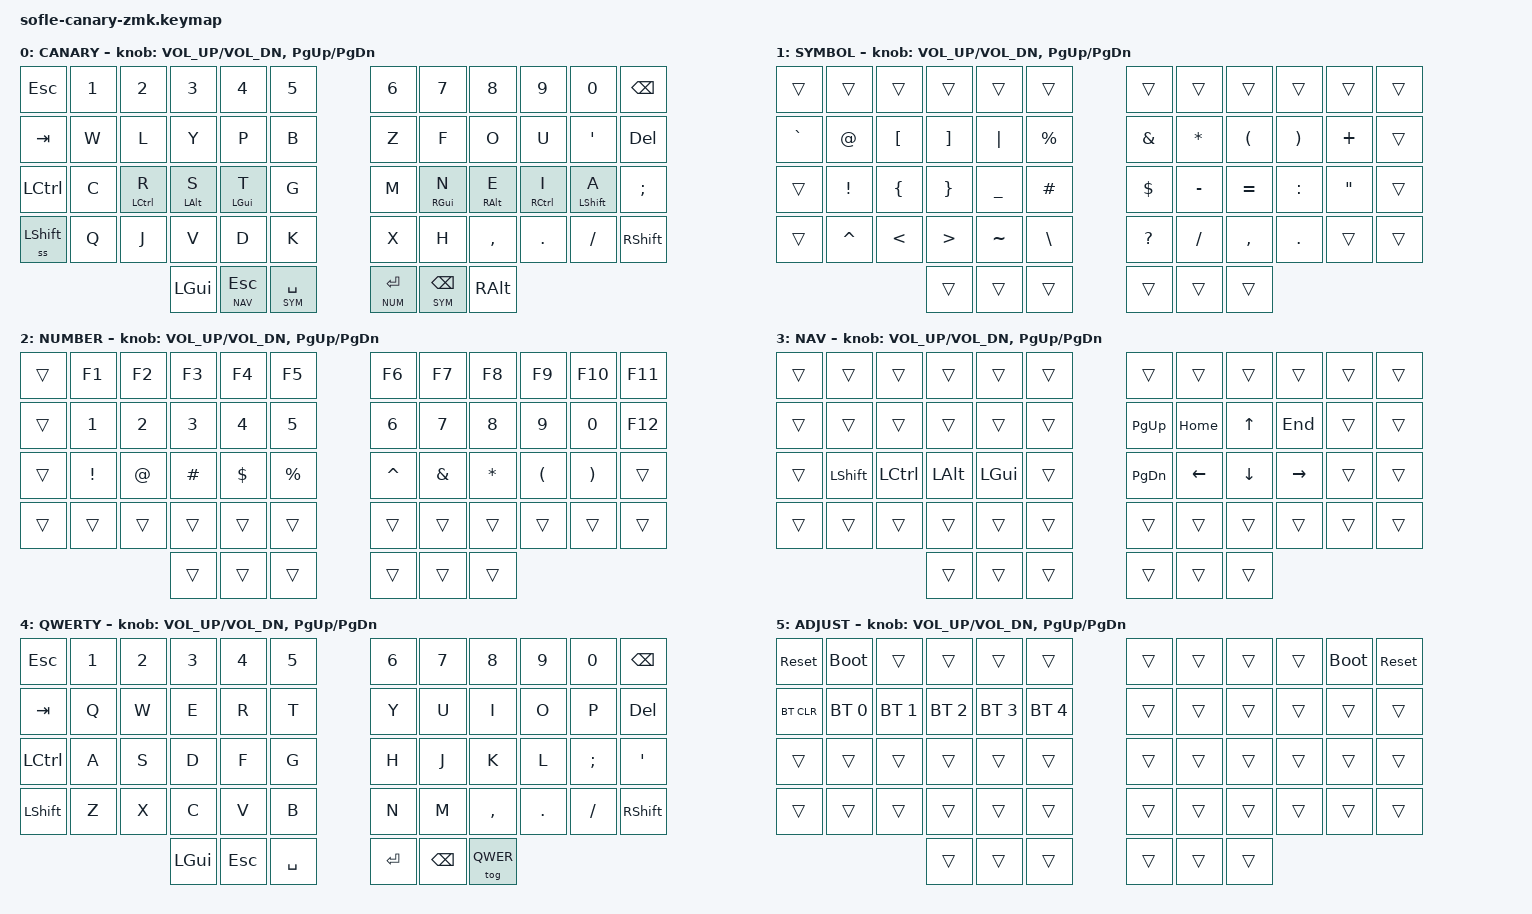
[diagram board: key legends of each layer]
/*
 * Canary Layout for Sofle Keyboard with ZMK
 * 
 * Features:
 * - Canary base layout with home row mods
 * - Dedicated programming symbol layer
 * - QWERTY layer for Chinese pinyin input
 * - German umlaut combos
 * - Advanced "timeless" home row mod configuration
 */

#include <input/processors.dtsi>
#include <behaviors.dtsi>
#include <dt-bindings/zmk/keys.h>
#include <dt-bindings/zmk/bt.h>
#include <dt-bindings/zmk/ext_power.h>
#include <dt-bindings/zmk/outputs.h>
#include <dt-bindings/zmk/pointing.h>
#include <dt-bindings/zmk/rgb.h>
#include <zephyr/dt-bindings/input/input-event-codes.h>

// Layer definitions
#define BASE 0
#define SYM  1
#define NUM  2
#define NAV  3
#define QWER 4
#define ADJ  5

// Home row mod definitions
#define HRM_A &hml LSHFT A
#define HRM_R &hml LCTRL R
#define HRM_S &hml LALT S
#define HRM_T &hml LGUI T
#define HRM_N &hmr RGUI N
#define HRM_E &hmr RALT E
#define HRM_I &hmr RCTRL I
#define HRM_O &hmr RSHFT O

/ {
    zip_xy_scaler: zip_xy_scaler {
    compatible = "zmk,input-processor-scaler";
    #input-processor-cells = <2>;
    type = <INPUT_EV_REL>;
    codes = <INPUT_REL_X INPUT_REL_Y>;
    track-remainders;
};
    behaviors {
        // Timeless home row mods - left hand
        hml: home_row_mod_left {
            compatible = "zmk,behavior-hold-tap";
            #binding-cells = <2>;
            bindings = <&kp>, <&kp>;
            flavor = "balanced";
            tapping-term-ms = <280>;
            quick-tap-ms = <175>;
            require-prior-idle-ms = <150>;
            hold-trigger-key-positions = <6 7 8 9 10 11 18 19 20 21 22 23 30 31 32 33 34 35 39 40 41 42 43 44 45 46 47 48 49 50 51 52 53 54 55 56 57>;
            hold-trigger-on-release;
        };
        
        // Timeless home row mods - right hand
        hmr: home_row_mod_right {
            compatible = "zmk,behavior-hold-tap";
            #binding-cells = <2>;
            bindings = <&kp>, <&kp>;
            flavor = "balanced";
            tapping-term-ms = <280>;
            quick-tap-ms = <175>;
            require-prior-idle-ms = <150>;
            hold-trigger-key-positions = <0 1 2 3 4 5 12 13 14 15 16 17 24 25 26 27 28 29 36 37 38 39 40 41 42 43 44 45 46 47 48 49 50 51 52 53 54 55 56 57>;
            hold-trigger-on-release;
        };
        
        // Layer tap for thumb keys
        lt: layer_tap {
            compatible = "zmk,behavior-hold-tap";
            #binding-cells = <2>;
            bindings = <&mo>, <&kp>;
            tapping-term-ms = <200>;
            quick-tap-ms = <150>;
            flavor = "tap-preferred";
        };
        
        // Sticky shift for capitalization
        ss: sticky_shift {
            compatible = "zmk,behavior-sticky-key";
            #binding-cells = <1>;
            bindings = <&kp>;
            release-after-ms = <1000>;
            quick-release;
        };
    };
    
    // German umlaut combos
    combos {
        compatible = "zmk,combos";
        
        combo_ae {
            timeout-ms = <50>;
            key-positions = <13 19>; // A + E
            bindings = <&de_ae>;
        };
        
        combo_oe {
            timeout-ms = <50>;
            key-positions = <22 19>; // O + E
            bindings = <&de_oe>;
        };
        
        combo_ue {
            timeout-ms = <50>;
            key-positions = <9 19>; // U + E
            bindings = <&de_ue>;
        };
        
        combo_ss {
            timeout-ms = <50>;
            key-positions = <15 27>; // S + Z
            bindings = <&de_ss>;
        };
        
        // Quick QWERTY toggle for Chinese
        combo_qwerty {
            timeout-ms = <100>;
            key-positions = <52 53>; // Both inner thumb keys
            bindings = <&tog QWER>;
        };
    };
    
    // Macros for German characters
    macros {
        de_ae: de_ae {
            compatible = "zmk,behavior-macro";
            #binding-cells = <0>;
            bindings = <&kp RALT>, <&kp A>;
        };
        
        de_oe: de_oe {
            compatible = "zmk,behavior-macro";
            #binding-cells = <0>;
            bindings = <&kp RALT>, <&kp O>;
        };
        
        de_ue: de_ue {
            compatible = "zmk,behavior-macro";
            #binding-cells = <0>;
            bindings = <&kp RALT>, <&kp U>;
        };
        
        de_ss: de_ss {
            compatible = "zmk,behavior-macro";
            #binding-cells = <0>;
            bindings = <&kp RALT>, <&kp S>;
        };
    };

    keymap {
        compatible = "zmk,keymap";
        
        // Base layer - Canary layout with home row mods
        base_layer {
            label = "CANARY";
            bindings = <
// ╭────────┬────────┬────────┬────────┬────────┬────────╮   ╭────────┬────────┬────────┬────────┬────────┬────────╮
    &kp ESC  &kp N1   &kp N2   &kp N3   &kp N4   &kp N5       &kp N6   &kp N7   &kp N8   &kp N9   &kp N0   &kp BSPC
// ├────────┼────────┼────────┼────────┼────────┼────────┤   ├────────┼────────┼────────┼────────┼────────┼────────┤
    &kp TAB  &kp W    &kp L    &kp Y    &kp P    &kp B        &kp Z    &kp F    &kp O    &kp U    &kp SQT  &kp DEL
// ├────────┼────────┼────────┼────────┼────────┼────────┤   ├────────┼────────┼────────┼────────┼────────┼────────┤
    &kp LCTRL &kp C   HRM_R    HRM_S    HRM_T    &kp G        &kp M    HRM_N    HRM_E    HRM_I    HRM_A    &kp SEMI
// ├────────┼────────┼────────┼────────┼────────┼────────┤   ├────────┼────────┼────────┼────────┼────────┼────────┤
    &ss LSHFT &kp Q   &kp J    &kp V    &kp D    &kp K        &kp X    &kp H    &kp COMMA &kp DOT &kp FSLH &kp RSHFT
// ╰────────┴────────┴────────┼────────┼────────┼────────┤   ├────────┼────────┼────────┼────────┴────────┴────────╯
                      &kp LGUI &lt NAV ESC &lt SYM SPACE      &lt NUM ENTER &lt SYM BSPC &kp RALT
//                            ╰────────┴────────┴────────╯   ╰────────┴────────┴────────╯
            >;
            
            sensor-bindings = <&inc_dec_kp C_VOL_UP C_VOL_DN &inc_dec_kp PG_UP PG_DN>;
        };
        
        // Symbol layer - optimized for Java programming
        symbol_layer {
            label = "SYMBOL";
            bindings = <
// ╭────────┬────────┬────────┬────────┬────────┬────────╮   ╭────────┬────────┬────────┬────────┬────────┬────────╮
    &trans   &trans   &trans   &trans   &trans   &trans       &trans   &trans   &trans   &trans   &trans   &trans
// ├────────┼────────┼────────┼────────┼────────┼────────┤   ├────────┼────────┼────────┼────────┼────────┼────────┤
    &kp GRAVE &kp AT  &kp LBKT &kp RBKT &kp PIPE &kp PRCNT    &kp AMPS &kp STAR &kp LPAR &kp RPAR &kp PLUS &trans
// ├────────┼────────┼────────┼────────┼────────┼────────┤   ├────────┼────────┼────────┼────────┼────────┼────────┤
    &trans   &kp EXCL &kp LBRC &kp RBRC &kp UNDER &kp HASH    &kp DLLR &kp MINUS &kp EQUAL &kp COLON &kp DQT &trans
// ├────────┼────────┼────────┼────────┼────────┼────────┤   ├────────┼────────┼────────┼────────┼────────┼────────┤
    &trans   &kp CARET &kp LT  &kp GT   &kp TILDE &kp BSLH    &kp QMARK &kp FSLH &kp COMMA &kp DOT  &trans  &trans
// ╰────────┴────────┴────────┼────────┼────────┼────────┤   ├────────┼────────┼────────┼────────┴────────┴────────╯
                      &trans   &trans   &trans               &trans   &trans   &trans
//                            ╰────────┴────────┴────────╯   ╰────────┴────────┴────────╯
            >;
            sensor-bindings = <&inc_dec_kp C_VOL_UP C_VOL_DN &inc_dec_kp PG_UP PG_DN>;
        };
        
        // Number/Function layer
        number_layer {
            label = "NUMBER";
            bindings = <
// ╭────────┬────────┬────────┬────────┬────────┬────────╮   ╭────────┬────────┬────────┬────────┬────────┬────────╮
    &trans   &kp F1   &kp F2   &kp F3   &kp F4   &kp F5       &kp F6   &kp F7   &kp F8   &kp F9   &kp F10  &kp F11
// ├────────┼────────┼────────┼────────┼────────┼────────┤   ├────────┼────────┼────────┼────────┼────────┼────────┤
    &trans   &kp N1   &kp N2   &kp N3   &kp N4   &kp N5       &kp N6   &kp N7   &kp N8   &kp N9   &kp N0   &kp F12
// ├────────┼────────┼────────┼────────┼────────┼────────┤   ├────────┼────────┼────────┼────────┼────────┼────────┤
    &trans   &kp EXCL &kp AT   &kp HASH &kp DLLR &kp PRCNT    &kp CARET &kp AMPS &kp STAR &kp LPAR &kp RPAR &trans
// ├────────┼────────┼────────┼────────┼────────┼────────┤   ├────────┼────────┼────────┼────────┼────────┼────────┤
    &trans   &trans   &trans   &trans   &trans   &trans       &trans   &trans   &trans   &trans   &trans   &trans
// ╰────────┴────────┴────────┼────────┼────────┼────────┤   ├────────┼────────┼────────┼────────┴────────┴────────╯
                      &trans   &trans   &trans               &trans   &trans   &trans
//                            ╰────────┴────────┴────────╯   ╰────────┴────────┴────────╯
            >;
            sensor-bindings = <&inc_dec_kp C_VOL_UP C_VOL_DN &inc_dec_kp PG_UP PG_DN>;
        };
        
        // Navigation layer
        navigation_layer {
            label = "NAV";
            bindings = <
// ╭────────┬────────┬────────┬────────┬────────┬────────╮   ╭────────┬────────┬────────┬────────┬────────┬────────╮
    &trans   &trans   &trans   &trans   &trans   &trans       &trans   &trans   &trans   &trans   &trans   &trans
// ├────────┼────────┼────────┼────────┼────────┼────────┤   ├────────┼────────┼────────┼────────┼────────┼────────┤
    &trans   &trans   &trans   &trans   &trans   &trans       &kp PG_UP &kp HOME &kp UP   &kp END  &trans   &trans
// ├────────┼────────┼────────┼────────┼────────┼────────┤   ├────────┼────────┼────────┼────────┼────────┼────────┤
    &trans   &kp LSHFT &kp LCTRL &kp LALT &kp LGUI &trans     &kp PG_DN &kp LEFT &kp DOWN &kp RIGHT &trans  &trans
// ├────────┼────────┼────────┼────────┼────────┼────────┤   ├────────┼────────┼────────┼────────┼────────┼────────┤
    &trans   &trans   &trans   &trans   &trans   &trans       &trans   &trans   &trans   &trans   &trans   &trans
// ╰────────┴────────┴────────┼────────┼────────┼────────┤   ├────────┼────────┼────────┼────────┴────────┴────────╯
                      &trans   &trans   &trans               &trans   &trans   &trans
//                            ╰────────┴────────┴────────╯   ╰────────┴────────┴────────╯
            >;
            sensor-bindings = <&inc_dec_kp C_VOL_UP C_VOL_DN &inc_dec_kp PG_UP PG_DN>;
        };
        
        // QWERTY layer for Chinese pinyin input
        qwerty_layer {
            label = "QWERTY";
            bindings = <
// ╭────────┬────────┬────────┬────────┬────────┬────────╮   ╭────────┬────────┬────────┬────────┬────────┬────────╮
    &kp ESC  &kp N1   &kp N2   &kp N3   &kp N4   &kp N5       &kp N6   &kp N7   &kp N8   &kp N9   &kp N0   &kp BSPC
// ├────────┼────────┼────────┼────────┼────────┼────────┤   ├────────┼────────┼────────┼────────┼────────┼────────┤
    &kp TAB  &kp Q    &kp W    &kp E    &kp R    &kp T        &kp Y    &kp U    &kp I    &kp O    &kp P    &kp DEL
// ├────────┼────────┼────────┼────────┼────────┼────────┤   ├────────┼────────┼────────┼────────┼────────┼────────┤
    &kp LCTRL &kp A   &kp S    &kp D    &kp F    &kp G        &kp H    &kp J    &kp K    &kp L    &kp SEMI &kp SQT
// ├────────┼────────┼────────┼────────┼────────┼────────┤   ├────────┼────────┼────────┼────────┼────────┼────────┤
    &kp LSHFT &kp Z   &kp X    &kp C    &kp V    &kp B        &kp N    &kp M    &kp COMMA &kp DOT &kp FSLH &kp RSHFT
// ╰────────┴────────┴────────┼────────┼────────┼────────┤   ├────────┼────────┼────────┼────────┴────────┴────────╯
                      &kp LGUI &kp ESC  &kp SPACE            &kp ENTER &kp BSPC &tog QWER
//                            ╰────────┴────────┴────────╯   ╰────────┴────────┴────────╯
            >;
            sensor-bindings = <&inc_dec_kp C_VOL_UP C_VOL_DN &inc_dec_kp PG_UP PG_DN>;
        };
        
        // Adjust layer for keyboard settings
        adjust_layer {
            label = "ADJUST";
            bindings = <
// ╭────────┬────────┬────────┬────────┬────────┬────────╮   ╭────────┬────────┬────────┬────────┬────────┬────────╮
    &sys_reset &bootloader &trans &trans &trans &trans       &trans   &trans   &trans   &trans   &bootloader &sys_reset
// ├────────┼────────┼────────┼────────┼────────┼────────┤   ├────────┼────────┼────────┼────────┼────────┼────────┤
    &bt BT_CLR &bt BT_SEL 0 &bt BT_SEL 1 &bt BT_SEL 2 &bt BT_SEL 3 &bt BT_SEL 4  &trans &trans &trans &trans &trans &trans
// ├────────┼────────┼────────┼────────┼────────┼────────┤   ├────────┼────────┼────────┼────────┼────────┼────────┤
    &trans   &trans   &trans   &trans   &trans   &trans       &trans   &trans   &trans   &trans   &trans   &trans
// ├────────┼────────┼────────┼────────┼────────┼────────┤   ├────────┼────────┼────────┼────────┼────────┼────────┤
    &trans   &trans   &trans   &trans   &trans   &trans       &trans   &trans   &trans   &trans   &trans   &trans
// ╰────────┴────────┴────────┼────────┼────────┼────────┤   ├────────┼────────┼────────┼────────┴────────┴────────╯
                      &trans   &trans   &trans               &trans   &trans   &trans
//                            ╰────────┴────────┴────────╯   ╰────────┴────────┴────────╯
            >;
            sensor-bindings = <&inc_dec_kp C_VOL_UP C_VOL_DN &inc_dec_kp PG_UP PG_DN>;
        };
    };
};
